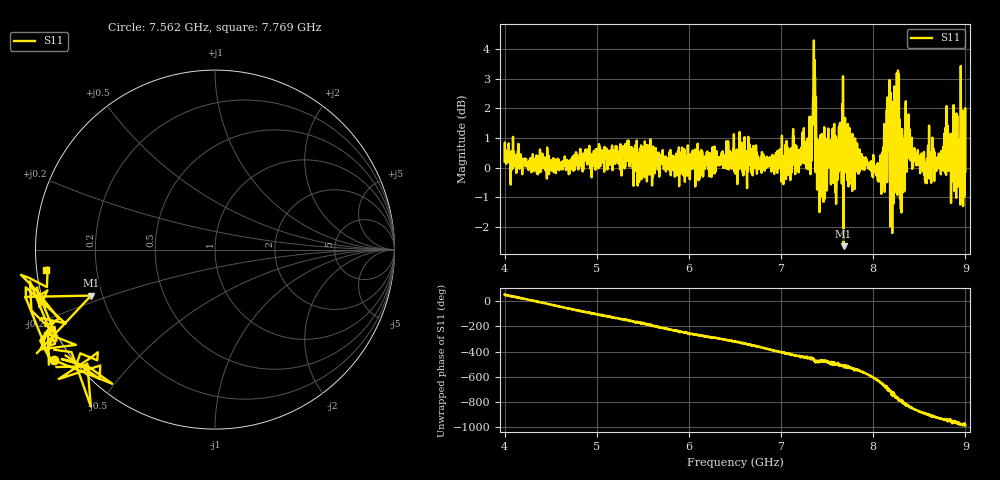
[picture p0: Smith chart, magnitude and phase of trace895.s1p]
! Created with skrf 1.8.0 (http://scikit-rf.org).
# Hz S RI R 50.0
!freq ReS11 ImS11
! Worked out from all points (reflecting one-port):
!   1601 points, 4 GHz to 9 GHz, reference 50 ohm
!   lowest |S11| = -2.7 dB at 7.678 GHz (marker M1), VSWR 6.59, Z = 7.83 - j8.77 ohm
!   phase of S11 starts at 54 deg and turns -1040 deg over the sweep
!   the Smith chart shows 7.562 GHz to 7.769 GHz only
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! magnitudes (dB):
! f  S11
! 4 GHz  0.2
! 4.625 GHz  0.1
! 5.25 GHz  0.1
! 5.875 GHz  -0.1
! 6.5 GHz  0.1
! 7.125 GHz  0.2
! 7.294 GHz  -0.1
! 7.347 GHz  2.3
! 7.375 GHz  -0.2
! 7.397 GHz  -0.1
! 7.428 GHz  1.1
! 7.509 GHz  0.7
! 7.609 GHz  0.4
! 7.65 GHz  1.0
! 7.678 GHz  -2.7
! 7.75 GHz  -0.4
! 8.066 GHz  -0.1
! 8.153 GHz  0.7
! 8.209 GHz  1.2
! 8.253 GHz  1.0
! 8.312 GHz  1.3
! 8.334 GHz  0.8
! 8.375 GHz  0.7
! 8.556 GHz  -0.3
! 8.816 GHz  -0.1
! 8.869 GHz  -0.5
! 8.972 GHz  0.7
! 9 GHz  -0.1
